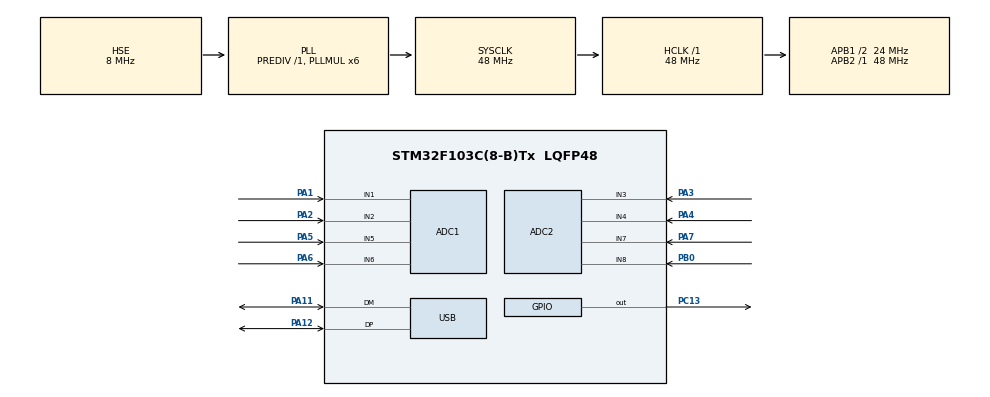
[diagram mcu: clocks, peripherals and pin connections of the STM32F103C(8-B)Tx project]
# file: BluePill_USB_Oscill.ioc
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ADC1.Channel-0\#ChannelRegularConversion=ADC_CHANNEL_1
ADC1.Channel-1\#ChannelRegularConversion=ADC_CHANNEL_2
ADC1.Channel-2\#ChannelRegularConversion=ADC_CHANNEL_5
ADC1.Channel-3\#ChannelRegularConversion=ADC_CHANNEL_6
ADC1.ContinuousConvMode=DISABLE
ADC1.ExternalTrigConv=ADC_EXTERNALTRIGCONV_T3_TRGO
ADC1.Mode=ADC_DUALMODE_REGSIMULT
ADC1.NbrOfConversion=4
ADC1.NbrOfConversionFlag=1
ADC1.Rank-0\#ChannelRegularConversion=1
ADC1.Rank-1\#ChannelRegularConversion=2
ADC1.Rank-2\#ChannelRegularConversion=3
ADC1.Rank-3\#ChannelRegularConversion=4
ADC1.SamplingTime-0\#ChannelRegularConversion=ADC_SAMPLETIME_1CYCLE_5
ADC1.SamplingTime-1\#ChannelRegularConversion=ADC_SAMPLETIME_1CYCLE_5
ADC1.SamplingTime-2\#ChannelRegularConversion=ADC_SAMPLETIME_1CYCLE_5
ADC1.SamplingTime-3\#ChannelRegularConversion=ADC_SAMPLETIME_1CYCLE_5
ADC1.master=1
ADC2.Channel-0\#ChannelRegularConversion=ADC_CHANNEL_3
ADC2.Channel-1\#ChannelRegularConversion=ADC_CHANNEL_4
ADC2.Channel-2\#ChannelRegularConversion=ADC_CHANNEL_7
ADC2.Channel-3\#ChannelRegularConversion=ADC_CHANNEL_8
ADC2.Mode=ADC_DUALMODE_REGSIMULT
ADC2.NbrOfConversion=4
ADC2.NbrOfConversionFlag=1
ADC2.Rank-0\#ChannelRegularConversion=1
ADC2.Rank-1\#ChannelRegularConversion=2
ADC2.Rank-2\#ChannelRegularConversion=3
ADC2.Rank-3\#ChannelRegularConversion=4
ADC2.SamplingTime-0\#ChannelRegularConversion=ADC_SAMPLETIME_1CYCLE_5
ADC2.SamplingTime-1\#ChannelRegularConversion=ADC_SAMPLETIME_1CYCLE_5
ADC2.SamplingTime-2\#ChannelRegularConversion=ADC_SAMPLETIME_1CYCLE_5
ADC2.SamplingTime-3\#ChannelRegularConversion=ADC_SAMPLETIME_1CYCLE_5
Dma.ADC1.0.Direction=DMA_PERIPH_TO_MEMORY
Dma.ADC1.0.Instance=DMA1_Channel1
Dma.ADC1.0.MemDataAlignment=DMA_MDATAALIGN_WORD
Dma.ADC1.0.MemInc=DMA_MINC_ENABLE
Dma.ADC1.0.Mode=DMA_CIRCULAR
Dma.ADC1.0.PeriphDataAlignment=DMA_PDATAALIGN_WORD
Dma.ADC1.0.PeriphInc=DMA_PINC_DISABLE
Dma.ADC1.0.Priority=DMA_PRIORITY_LOW
Dma.Request0=ADC1
Mcu.Family=STM32F1
Mcu.Name=STM32F103C(8-B)Tx
Mcu.Package=LQFP48
NVIC.DMA1_Channel1_IRQn=true\:0\:0\:false\:false\:true\:false\:true\:true
NVIC.PriorityGroup=NVIC_PRIORITYGROUP_4
NVIC.USB_LP_CAN1_RX0_IRQn=true\:0\:0\:false\:false\:true\:false\:true\:true
PA1.Signal=ADCx_IN1
PA11.Mode=Device
PA11.Signal=USB_DM
PA12.Mode=Device
PA12.Signal=USB_DP
PA2.Signal=ADCx_IN2
PA3.Signal=ADCx_IN3
PA4.Signal=ADCx_IN4
PA5.Signal=ADCx_IN5
PA6.Signal=ADCx_IN6
PA7.Signal=ADCx_IN7
PB0.Signal=ADCx_IN8
PC13-TAMPER-RTC.GPIO_PuPd=GPIO_NOPULL
PC13-TAMPER-RTC.Signal=GPIO_Output
PD0-OSC_IN.Mode=HSE-External-Oscillator
PD0-OSC_IN.Signal=RCC_OSC_IN
PD1-OSC_OUT.Mode=HSE-External-Oscillator
PD1-OSC_OUT.Signal=RCC_OSC_OUT
ProjectManager.HeapSize=0x200
ProjectManager.StackSize=0x400
ProjectManager.TargetToolchain=STM32CubeIDE
RCC.ADCPresc=RCC_ADCPCLK2_DIV4
RCC.AHBFreq_Value=48000000
RCC.APB1CLKDivider=RCC_HCLK_DIV2
RCC.APB1Freq_Value=24000000
RCC.APB1TimFreq_Value=48000000
RCC.APB2Freq_Value=48000000
RCC.APB2TimFreq_Value=48000000
RCC.HCLKFreq_Value=48000000
RCC.PLLMUL=RCC_PLL_MUL6
RCC.SYSCLKFreq_VALUE=48000000
RCC.SYSCLKSource=RCC_SYSCLKSOURCE_PLLCLK
RCC.USBFreq_Value=48000000
SH.ADCx_IN1.0=ADC1_IN1,IN1
SH.ADCx_IN2.0=ADC1_IN2,IN2
SH.ADCx_IN3.0=ADC2_IN3,IN3
SH.ADCx_IN4.0=ADC2_IN4,IN4
SH.ADCx_IN5.0=ADC1_IN5,IN5
SH.ADCx_IN6.0=ADC1_IN6,IN6
SH.ADCx_IN7.0=ADC2_IN7,IN7
SH.ADCx_IN8.0=ADC2_IN8,IN8
TIM3.Period=TIM_PRD
TIM3.Prescaler=TIM_PRESC
TIM3.TIM_MasterOutputTrigger=TIM_TRGO_UPDATE
USB_DEVICE.CLASS_NAME_FS=CDC
USB_DEVICE.VirtualMode=Cdc
USB_DEVICE.VirtualModeFS=Cdc_FS
VP_TIM3_VS_ClockSourceINT.Mode=Internal
VP_USB_DEVICE_VS_USB_DEVICE_CDC_FS.Mode=CDC_FS
board=custom

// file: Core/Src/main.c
/* USER CODE BEGIN Header */
/**
  ******************************************************************************
  * @file           : main.c
  * @brief          : Main program body
  ******************************************************************************
  * @attention
  *
  * Copyright (c) 2023 STMicroelectronics.
  * All rights reserved.
  *
  * This software is licensed under terms that can be found in the LICENSE file
  * in the root directory of this software component.
  * If no LICENSE file comes with this software, it is provided AS-IS.
  *
  ******************************************************************************
  */
/* USER CODE END Header */
#include "main.h"
#include "usb_device.h"

/* USER CODE BEGIN Includes */
#include "usbd_cdc_if.h"
#include <stdio.h>

/* USER CODE END Includes */

/* USER CODE BEGIN PTD */
typedef uint8_t Byte;

/* USER CODE END PTD */

/* USER CODE BEGIN PM */
#define TRUE	1
#define FALSE	0

#define LED_ON			HAL_GPIO_WritePin(GPIOC, GPIO_PIN_13, GPIO_PIN_RESET)
#define LED_OFF			HAL_GPIO_WritePin(GPIOC, GPIO_PIN_13, GPIO_PIN_SET)
#define LED_BLINK_FAST	LED_ON; HAL_Delay(50); LED_OFF

// 48 000 000
// 48 MHz clock -> ? Hz Timer
#define TIM_PRESC		1-1			// Prescaller
#define TIM_PRD			4800-1		// Period

#define DMA_BUF_LEN		2048

/* USER CODE END PM */

ADC_HandleTypeDef hadc1;
ADC_HandleTypeDef hadc2;
DMA_HandleTypeDef hdma_adc1;

TIM_HandleTypeDef htim3;

/* USER CODE BEGIN PV */
Byte readyPart1 = FALSE;
Byte readyPart2 = FALSE;

/* USER CODE END PV */

void SystemClock_Config(void);
static void MX_GPIO_Init(void);
static void MX_DMA_Init(void);
static void MX_ADC1_Init(void);
static void MX_TIM3_Init(void);
static void MX_ADC2_Init(void);

int main(void)
{

  /* MCU Configuration--------------------------------------------------------*/

  /* Reset of all peripherals, Initializes the Flash interface and the Systick. */
  HAL_Init();

  /* Configure the system clock */
  SystemClock_Config();

  /* Initialize all configured peripherals */
  MX_GPIO_Init();
  MX_DMA_Init();
  MX_ADC1_Init();
  MX_TIM3_Init();
  MX_USB_DEVICE_Init();
  MX_ADC2_Init();

  /* Infinite loop */
  /* USER CODE BEGIN WHILE */

  LED_OFF;

  // Create buffer for storing adc value
  const uint16_t dmaBufLen = DMA_BUF_LEN;
  uint32_t dmaBuf[dmaBufLen];
  uint32_t* dmaBufPart2 = &dmaBuf[(uint16_t)(dmaBufLen/2)];

  // Create a buffer for message for transfering over USB
  // Store 16 bit values from ADC; USB transfers 8 bit values;
  // message buffer length = 2 * length of data buffer
  const uint16_t usbBufLen = dmaBufLen;
//  char msgBuf [msgLen];

  // Calibrate ADC
  LED_OFF;

  HAL_ADCEx_Calibration_Start(&hadc1);
  HAL_ADCEx_Calibration_Start(&hadc2);
  HAL_Delay(500);

  LED_BLINK_FAST;

  // Start ADC and Timer
  HAL_TIM_Base_Start(&htim3);
  HAL_ADC_Start(&hadc2);
  HAL_ADCEx_MultiModeStart_DMA(&hadc1, dmaBuf, dmaBufLen);

//  Byte isSampling = FALSE;

  while (1)
  {
	  if (readyPart1) {
		  readyPart1 = FALSE;
		  CDC_Transmit_FS((uint8_t*)dmaBuf, usbBufLen);
	  }
	  if (readyPart2) {
		  readyPart2 = FALSE;
		  CDC_Transmit_FS((uint8_t*)dmaBufPart2, usbBufLen);
	  }

    /* USER CODE END WHILE */

  }
}

void SystemClock_Config(void)
{
  RCC_OscInitTypeDef RCC_OscInitStruct = {0};
  RCC_ClkInitTypeDef RCC_ClkInitStruct = {0};
  RCC_PeriphCLKInitTypeDef PeriphClkInit = {0};

  /** Initializes the RCC Oscillators according to the specified parameters
  * in the RCC_OscInitTypeDef structure.
  */
  RCC_OscInitStruct.OscillatorType = RCC_OSCILLATORTYPE_HSE;
  RCC_OscInitStruct.HSEState = RCC_HSE_ON;
  RCC_OscInitStruct.HSEPredivValue = RCC_HSE_PREDIV_DIV1;
  RCC_OscInitStruct.HSIState = RCC_HSI_ON;
  RCC_OscInitStruct.PLL.PLLState = RCC_PLL_ON;
  RCC_OscInitStruct.PLL.PLLSource = RCC_PLLSOURCE_HSE;
  RCC_OscInitStruct.PLL.PLLMUL = RCC_PLL_MUL6;
  if (HAL_RCC_OscConfig(&RCC_OscInitStruct) != HAL_OK)
  {
    Error_Handler();
  }

  /** Initializes the CPU, AHB and APB buses clocks
  */
  RCC_ClkInitStruct.ClockType = RCC_CLOCKTYPE_HCLK|RCC_CLOCKTYPE_SYSCLK
                              |RCC_CLOCKTYPE_PCLK1|RCC_CLOCKTYPE_PCLK2;
  RCC_ClkInitStruct.SYSCLKSource = RCC_SYSCLKSOURCE_PLLCLK;
  RCC_ClkInitStruct.AHBCLKDivider = RCC_SYSCLK_DIV1;
  RCC_ClkInitStruct.APB1CLKDivider = RCC_HCLK_DIV2;
  RCC_ClkInitStruct.APB2CLKDivider = RCC_HCLK_DIV1;

  if (HAL_RCC_ClockConfig(&RCC_ClkInitStruct, FLASH_LATENCY_1) != HAL_OK)
  {
    Error_Handler();
  }
  PeriphClkInit.PeriphClockSelection = RCC_PERIPHCLK_ADC|RCC_PERIPHCLK_USB;
  PeriphClkInit.AdcClockSelection = RCC_ADCPCLK2_DIV4;
  PeriphClkInit.UsbClockSelection = RCC_USBCLKSOURCE_PLL;
  if (HAL_RCCEx_PeriphCLKConfig(&PeriphClkInit) != HAL_OK)
  {
    Error_Handler();
  }
}

static void MX_ADC1_Init(void)
{

  ADC_MultiModeTypeDef multimode = {0};
  ADC_ChannelConfTypeDef sConfig = {0};

  /** Common config
  */
  hadc1.Instance = ADC1;
  hadc1.Init.ScanConvMode = ADC_SCAN_ENABLE;
  hadc1.Init.ContinuousConvMode = DISABLE;
  hadc1.Init.DiscontinuousConvMode = DISABLE;
  hadc1.Init.ExternalTrigConv = ADC_EXTERNALTRIGCONV_T3_TRGO;
  hadc1.Init.DataAlign = ADC_DATAALIGN_RIGHT;
  hadc1.Init.NbrOfConversion = 4;
  if (HAL_ADC_Init(&hadc1) != HAL_OK)
  {
    Error_Handler();
  }

  /** Configure the ADC multi-mode
  */
  multimode.Mode = ADC_DUALMODE_REGSIMULT;
  if (HAL_ADCEx_MultiModeConfigChannel(&hadc1, &multimode) != HAL_OK)
  {
    Error_Handler();
  }

  /** Configure Regular Channel
  */
  sConfig.Channel = ADC_CHANNEL_1;
  sConfig.Rank = ADC_REGULAR_RANK_1;
  sConfig.SamplingTime = ADC_SAMPLETIME_1CYCLE_5;
  if (HAL_ADC_ConfigChannel(&hadc1, &sConfig) != HAL_OK)
  {
    Error_Handler();
  }

  /** Configure Regular Channel
  */
  sConfig.Channel = ADC_CHANNEL_2;
  sConfig.Rank = ADC_REGULAR_RANK_2;
  if (HAL_ADC_ConfigChannel(&hadc1, &sConfig) != HAL_OK)
  {
    Error_Handler();
  }

  /** Configure Regular Channel
  */
  sConfig.Channel = ADC_CHANNEL_5;
  sConfig.Rank = ADC_REGULAR_RANK_3;
  if (HAL_ADC_ConfigChannel(&hadc1, &sConfig) != HAL_OK)
  {
    Error_Handler();
  }

  /** Configure Regular Channel
  */
  sConfig.Channel = ADC_CHANNEL_6;
  sConfig.Rank = ADC_REGULAR_RANK_4;
  if (HAL_ADC_ConfigChannel(&hadc1, &sConfig) != HAL_OK)
  {
    Error_Handler();
  }

}

static void MX_ADC2_Init(void)
{

  ADC_ChannelConfTypeDef sConfig = {0};

  /** Common config
  */
  hadc2.Instance = ADC2;
  hadc2.Init.ScanConvMode = ADC_SCAN_ENABLE;
  hadc2.Init.ContinuousConvMode = DISABLE;
  hadc2.Init.DiscontinuousConvMode = DISABLE;
  hadc2.Init.ExternalTrigConv = ADC_SOFTWARE_START;
  hadc2.Init.DataAlign = ADC_DATAALIGN_RIGHT;
  hadc2.Init.NbrOfConversion = 4;
  if (HAL_ADC_Init(&hadc2) != HAL_OK)
  {
    Error_Handler();
  }

  /** Configure Regular Channel
  */
  sConfig.Channel = ADC_CHANNEL_3;
  sConfig.Rank = ADC_REGULAR_RANK_1;
  sConfig.SamplingTime = ADC_SAMPLETIME_1CYCLE_5;
  if (HAL_ADC_ConfigChannel(&hadc2, &sConfig) != HAL_OK)
  {
    Error_Handler();
  }

  /** Configure Regular Channel
  */
  sConfig.Channel = ADC_CHANNEL_4;
  sConfig.Rank = ADC_REGULAR_RANK_2;
  if (HAL_ADC_ConfigChannel(&hadc2, &sConfig) != HAL_OK)
  {
    Error_Handler();
  }

  /** Configure Regular Channel
  */
  sConfig.Channel = ADC_CHANNEL_7;
  sConfig.Rank = ADC_REGULAR_RANK_3;
  if (HAL_ADC_ConfigChannel(&hadc2, &sConfig) != HAL_OK)
  {
    Error_Handler();
  }

  /** Configure Regular Channel
  */
  sConfig.Channel = ADC_CHANNEL_8;
  sConfig.Rank = ADC_REGULAR_RANK_4;
  if (HAL_ADC_ConfigChannel(&hadc2, &sConfig) != HAL_OK)
  {
    Error_Handler();
  }

}

static void MX_TIM3_Init(void)
{

  TIM_ClockConfigTypeDef sClockSourceConfig = {0};
  TIM_MasterConfigTypeDef sMasterConfig = {0};

  htim3.Instance = TIM3;
  htim3.Init.Prescaler = TIM_PRESC;
  htim3.Init.CounterMode = TIM_COUNTERMODE_UP;
  htim3.Init.Period = TIM_PRD;
  htim3.Init.ClockDivision = TIM_CLOCKDIVISION_DIV1;
  htim3.Init.AutoReloadPreload = TIM_AUTORELOAD_PRELOAD_DISABLE;
  if (HAL_TIM_Base_Init(&htim3) != HAL_OK)
  {
    Error_Handler();
  }
  sClockSourceConfig.ClockSource = TIM_CLOCKSOURCE_INTERNAL;
  if (HAL_TIM_ConfigClockSource(&htim3, &sClockSourceConfig) != HAL_OK)
  {
    Error_Handler();
  }
  sMasterConfig.MasterOutputTrigger = TIM_TRGO_UPDATE;
  sMasterConfig.MasterSlaveMode = TIM_MASTERSLAVEMODE_DISABLE;
  if (HAL_TIMEx_MasterConfigSynchronization(&htim3, &sMasterConfig) != HAL_OK)
  {
    Error_Handler();
  }

}

static void MX_DMA_Init(void)
{

  /* DMA controller clock enable */
  __HAL_RCC_DMA1_CLK_ENABLE();

  /* DMA interrupt init */
  /* DMA1_Channel1_IRQn interrupt configuration */
  HAL_NVIC_SetPriority(DMA1_Channel1_IRQn, 0, 0);
  HAL_NVIC_EnableIRQ(DMA1_Channel1_IRQn);

}

static void MX_GPIO_Init(void)
{
  GPIO_InitTypeDef GPIO_InitStruct = {0};

  /* GPIO Ports Clock Enable */
  __HAL_RCC_GPIOC_CLK_ENABLE();
  __HAL_RCC_GPIOD_CLK_ENABLE();
  __HAL_RCC_GPIOA_CLK_ENABLE();
  __HAL_RCC_GPIOB_CLK_ENABLE();

  /*Configure GPIO pin Output Level */
  HAL_GPIO_WritePin(GPIOC, GPIO_PIN_13, GPIO_PIN_RESET);

  /*Configure GPIO pin : PC13 */
  GPIO_InitStruct.Pin = GPIO_PIN_13;
  GPIO_InitStruct.Mode = GPIO_MODE_OUTPUT_PP;
  GPIO_InitStruct.Pull = GPIO_NOPULL;
  GPIO_InitStruct.Speed = GPIO_SPEED_FREQ_LOW;
  HAL_GPIO_Init(GPIOC, &GPIO_InitStruct);

}

/* USER CODE BEGIN 4 */
void HAL_ADC_ConvHalfCpltCallback(ADC_HandleTypeDef* hadc)
{
	readyPart1 = TRUE;
}

void HAL_ADC_ConvCpltCallback(ADC_HandleTypeDef* hadc)
{
	readyPart2 = TRUE;
}

void HAL_ADC_ErrorCallback(ADC_HandleTypeDef* hadc)
{
	for(int i = 0; i < 10; i++){
		HAL_GPIO_TogglePin(GPIOC, GPIO_PIN_13);
		HAL_Delay(100);
	}
}
/* USER CODE END 4 */

void Error_Handler(void)
{
  __disable_irq();
  while (1)
  {
  }
}
